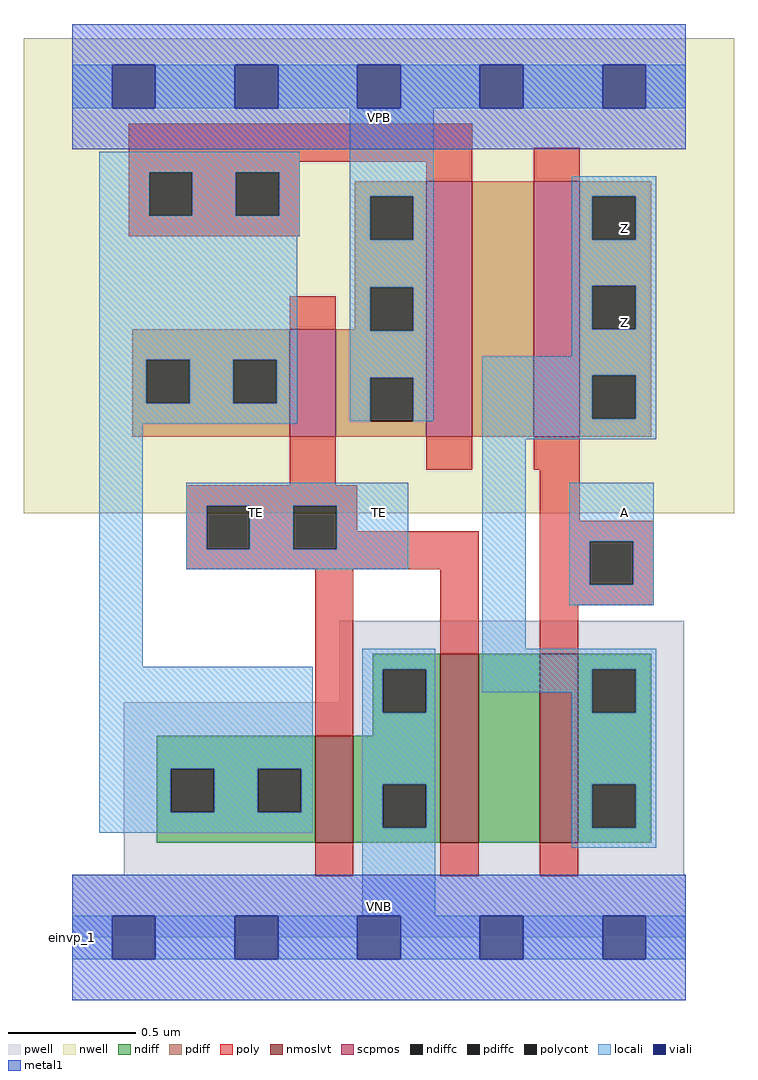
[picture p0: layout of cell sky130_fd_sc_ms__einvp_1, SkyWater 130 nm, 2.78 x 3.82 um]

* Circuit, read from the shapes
.subckt sky130_fd_sc_ms__einvp_1 A TE VGND VNB VPB VPWR Z
XM1 VGND TE n1 VNB sky130_fd_pr__nfet_01v8_lvt w=0.42 l=0.15
XM2 n2 TE VGND VNB sky130_fd_pr__nfet_01v8_lvt w=0.74 l=0.15
XM3 Z A n2 VNB sky130_fd_pr__nfet_01v8_lvt w=0.74 l=0.15
XM4 VPWR TE n1 VPB sky130_fd_pr__pfet_01v8 w=0.42 l=0.18
XM5 n3 n1 VPWR VPB sky130_fd_pr__pfet_01v8 w=1 l=0.18
XM6 Z A n3 VPB sky130_fd_pr__pfet_01v8 w=1 l=0.18
.ends

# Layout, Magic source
magic
tech sky130A
magscale 1 2
<< nwell >>
rect -38 332 518 704
<< pwell >>
rect 209 184 479 248
rect 40 49 479 184
rect 0 0 480 49
<< scpmos >>
rect 170 392 206 476
rect 277 392 313 592
rect 361 392 397 592
<< nmoslvt >>
rect 190 74 220 158
rect 288 74 318 222
rect 366 74 396 222
<< ndiff >>
rect 235 210 288 222
rect 235 176 243 210
rect 277 176 288 210
rect 235 158 288 176
rect 66 132 190 158
rect 66 98 77 132
rect 111 98 145 132
rect 179 98 190 132
rect 66 74 190 98
rect 220 120 288 158
rect 220 86 243 120
rect 277 86 288 120
rect 220 74 288 86
rect 318 74 366 222
rect 396 210 453 222
rect 396 176 407 210
rect 441 176 453 210
rect 396 120 453 176
rect 396 86 407 120
rect 441 86 453 120
rect 396 74 453 86
<< pdiff >>
rect 221 580 277 592
rect 221 546 233 580
rect 267 546 277 580
rect 221 509 277 546
rect 221 476 233 509
rect 47 452 170 476
rect 47 418 58 452
rect 92 418 126 452
rect 160 418 170 452
rect 47 392 170 418
rect 206 475 233 476
rect 267 475 277 509
rect 206 438 277 475
rect 206 404 233 438
rect 267 404 277 438
rect 206 392 277 404
rect 313 392 361 592
rect 397 580 453 592
rect 397 546 407 580
rect 441 546 453 580
rect 397 510 453 546
rect 397 476 407 510
rect 441 476 453 510
rect 397 440 453 476
rect 397 406 407 440
rect 441 406 453 440
rect 397 392 453 406
<< ndiffc >>
rect 243 176 277 210
rect 77 98 111 132
rect 145 98 179 132
rect 243 86 277 120
rect 407 176 441 210
rect 407 86 441 120
<< pdiffc >>
rect 233 546 267 580
rect 58 418 92 452
rect 126 418 160 452
rect 233 475 267 509
rect 233 404 267 438
rect 407 546 441 580
rect 407 476 441 510
rect 407 406 441 440
<< poly >>
rect 44 607 313 637
rect 44 599 178 607
rect 44 565 60 599
rect 94 565 128 599
rect 162 565 178 599
rect 277 592 313 607
rect 361 592 397 618
rect 44 549 178 565
rect 170 476 206 502
rect 170 354 206 392
rect 277 366 313 392
rect 361 366 397 392
rect 89 338 223 354
rect 89 304 105 338
rect 139 304 173 338
rect 207 318 223 338
rect 366 326 397 366
rect 207 304 318 318
rect 89 288 318 304
rect 190 158 220 288
rect 288 222 318 288
rect 366 310 455 326
rect 366 276 405 310
rect 439 276 455 310
rect 366 260 455 276
rect 366 222 396 260
rect 190 48 220 74
rect 288 48 318 74
rect 366 48 396 74
<< polycont >>
rect 60 565 94 599
rect 128 565 162 599
rect 105 304 139 338
rect 173 304 207 338
rect 405 276 439 310
<< locali >>
rect 0 649 31 683
rect 65 649 127 683
rect 161 649 223 683
rect 257 649 319 683
rect 353 649 415 683
rect 449 649 480 683
rect 21 599 178 615
rect 21 565 60 599
rect 94 565 128 599
rect 162 565 178 599
rect 21 549 178 565
rect 217 580 283 649
rect 21 452 176 549
rect 21 418 58 452
rect 92 418 126 452
rect 160 418 176 452
rect 21 402 176 418
rect 217 546 233 580
rect 267 546 283 580
rect 217 509 283 546
rect 217 475 233 509
rect 267 475 283 509
rect 217 438 283 475
rect 391 580 457 596
rect 391 546 407 580
rect 441 546 457 580
rect 391 510 457 546
rect 391 476 407 510
rect 441 476 457 510
rect 391 455 457 476
rect 217 404 233 438
rect 267 404 283 438
rect 321 440 457 455
rect 321 406 407 440
rect 441 406 457 440
rect 21 212 55 402
rect 321 390 457 406
rect 89 338 263 356
rect 89 304 105 338
rect 139 304 173 338
rect 207 304 263 338
rect 89 288 263 304
rect 321 226 355 390
rect 389 310 455 356
rect 389 276 405 310
rect 439 276 455 310
rect 389 260 455 276
rect 21 132 188 212
rect 21 98 77 132
rect 111 98 145 132
rect 179 98 188 132
rect 21 82 188 98
rect 227 210 284 226
rect 227 176 243 210
rect 277 176 284 210
rect 321 210 457 226
rect 321 192 407 210
rect 227 120 284 176
rect 227 86 243 120
rect 277 86 284 120
rect 227 17 284 86
rect 391 176 407 192
rect 441 176 457 210
rect 391 120 457 176
rect 391 86 407 120
rect 441 86 457 120
rect 391 70 457 86
rect 0 -17 31 17
rect 65 -17 127 17
rect 161 -17 223 17
rect 257 -17 319 17
rect 353 -17 415 17
rect 449 -17 480 17
<< viali >>
rect 31 649 65 683
rect 127 649 161 683
rect 223 649 257 683
rect 319 649 353 683
rect 415 649 449 683
rect 31 -17 65 17
rect 127 -17 161 17
rect 223 -17 257 17
rect 319 -17 353 17
rect 415 -17 449 17
<< metal1 >>
rect 0 683 480 715
rect 0 649 31 683
rect 65 649 127 683
rect 161 649 223 683
rect 257 649 319 683
rect 353 649 415 683
rect 449 649 480 683
rect 0 617 480 649
rect 0 17 480 49
rect 0 -17 31 17
rect 65 -17 127 17
rect 161 -17 223 17
rect 257 -17 319 17
rect 353 -17 415 17
rect 449 -17 480 17
rect 0 -49 480 -17
<< labels >>
flabel pwell s 0 0 480 49 0 FreeSans 200 0 0 0 VNB
port 4 nsew ground bidirectional
flabel nwell s 0 617 480 666 0 FreeSans 200 0 0 0 VPB
port 5 nsew power bidirectional
rlabel comment s 0 0 0 0 4 einvp_1
flabel metal1 s 0 617 480 666 0 FreeSans 340 0 0 0 VPWR
port 6 nsew power bidirectional
flabel metal1 s 0 0 480 49 0 FreeSans 340 0 0 0 VGND
port 3 nsew ground bidirectional
flabel locali s 127 316 161 350 0 FreeSans 340 0 0 0 TE
port 2 nsew signal input
flabel locali s 223 316 257 350 0 FreeSans 340 0 0 0 TE
port 2 nsew signal input
flabel locali s 415 464 449 498 0 FreeSans 340 0 0 0 Z
port 7 nsew signal output
flabel locali s 415 538 449 572 0 FreeSans 340 0 0 0 Z
port 7 nsew signal output
flabel locali s 415 316 449 350 0 FreeSans 340 0 0 0 A
port 1 nsew signal input
<< properties >>
string LEFsite unit
string LEFclass CORE
string FIXED_BBOX 0 0 480 666
string GDS_FILE $PDKPATH/libs.ref/sky130_fd_sc_ms/gds/sky130_fd_sc_ms.gds
string LEFsymmetry X Y
string GDS_END 1955322
string GDS_START 1950390
<< end >>
